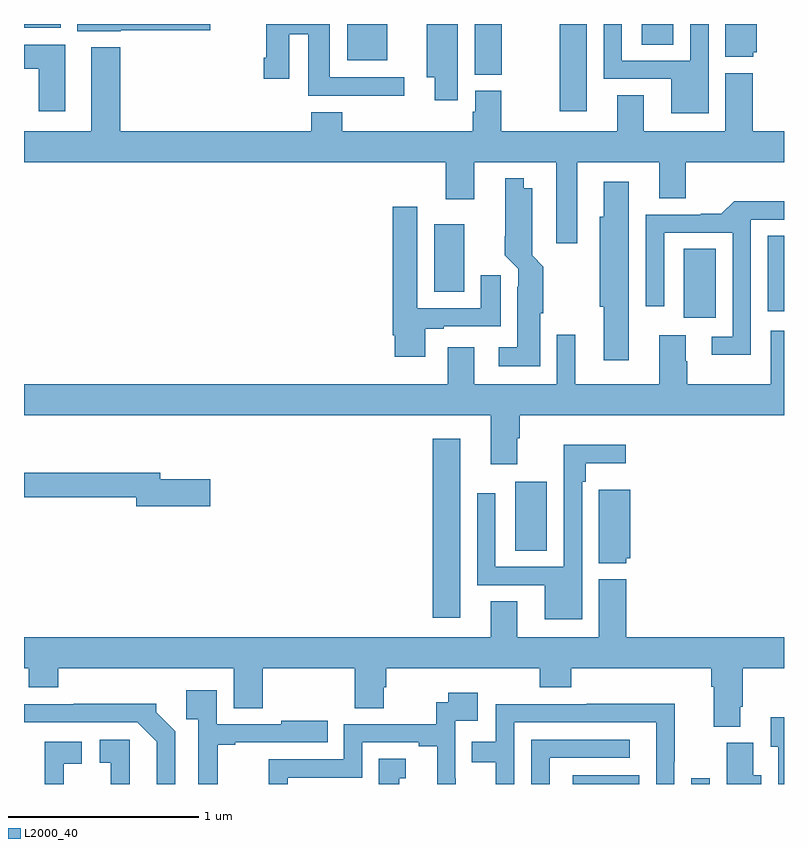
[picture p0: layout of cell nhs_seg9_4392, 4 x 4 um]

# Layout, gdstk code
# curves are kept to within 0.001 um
import gdstk
lib = gdstk.Library(unit=1e-6, precision=1e-09)
def R(c, l, rs):  # rectangles x0, y0, x1, y1
    for r in rs: c.add(gdstk.rectangle(r[:2], r[2:], *l))
def P(c, l, *ps):  # polygons
    for p in ps: c.add(gdstk.Polygon(p, *l))
L2000_40 = (2000, 40)

nhs_seg9_4392 = lib.new_cell('nhs_seg9_4392')
R(nhs_seg9_4392, L2000_40, [(365.889,1174.5,366.238,1174.546), (366.513,1174.5,366.609,1174.531), (365.15,1175.376,365.296,1176.316), (365.585,1175.728,365.752,1176.091), (366.473,1176.954,366.64,1177.316), (366.914,1176.987,367,1177.385), (365.159,1177.09,365.317,1177.447), (365.821,1178.04,365.962,1178.5), (365.372,1178.233,365.514,1178.5), (364.7,1178.309,364.912,1178.5), (366.251,1178.392,366.418,1178.5), (363,1178.48,363.193,1178.5)])
P(nhs_seg9_4392, L2000_40, [(365.284,1178.5),(364.997,1178.5),(364.997,1178.498),(365.12,1178.498),(365.12,1178.219),(365.162,1178.219),(365.162,1178.1),(365.284,1178.1)],
  [(366.603,1178.5),(366.507,1178.5),(366.507,1178.307),(366.147,1178.307),(366.147,1178.5),(366.051,1178.5),(366.051,1178.211),(366.407,1178.211),(366.407,1178.03),(366.603,1178.03)],
  [(363.51,1178.468),(363.979,1178.468),(363.979,1178.5),(363.281,1178.5),(363.281,1178.462),(363.51,1178.462)],
  [(366.837,1178.352),(366.856,1178.352),(366.856,1178.5),(366.692,1178.5),(366.692,1178.327),(366.837,1178.327)],
  [(365.002,1178.22),(364.609,1178.22),(364.609,1178.5),(364.274,1178.5),(364.274,1178.323),(364.262,1178.323),(364.262,1178.211),(364.396,1178.211),(364.396,1178.447),(364.496,1178.447),(364.496,1178.123),(365.002,1178.123)],
  [(363.217,1178.392),(363,1178.392),(363,1178.264),(363.077,1178.264),(363.077,1178.04),(363.217,1178.04)],
  [(365.911,1177.772),(366.344,1177.772),(366.344,1177.582),(366.484,1177.582),(366.484,1177.772),(367,1177.772),(367,1177.936),(366.836,1177.936),(366.836,1178.242),(366.692,1178.242),(366.692,1177.936),(366.262,1177.936),(366.262,1178.126),(366.122,1178.126),(366.122,1177.936),(365.511,1177.936),(365.511,1178.148),(365.375,1178.148),(365.375,1178.037),(365.363,1178.037),(365.363,1177.936),(364.676,1177.936),(364.676,1178.035),(364.511,1178.035),(364.511,1177.936),(363.506,1177.936),(363.506,1178.377),(363.353,1178.377),(363.353,1177.936),(363,1177.936),(363,1177.772),(365.219,1177.772),(365.219,1177.578),(365.371,1177.578),(365.371,1177.772),(365.801,1177.772),(365.801,1177.347),(365.911,1177.347)],
  [(365.716,1176.978),(365.734,1176.978),(365.734,1177.223),(365.675,1177.282),(365.674,1177.636),(365.629,1177.636),(365.629,1177.687),(365.532,1177.687),(365.531,1177.282),(365.601,1177.212),(365.601,1177.118),(365.597,1177.118),(365.597,1176.799),(365.499,1176.799),(365.499,1176.698),(365.716,1176.698)],
  [(366.184,1177.669),(366.05,1177.669),(366.05,1177.485),(366.029,1177.485),(366.029,1177.013),(366.05,1177.013),(366.05,1176.729),(366.184,1176.729)],
  [(366.825,1177.47),(367,1177.47),(367,1177.568),(366.737,1177.568),(366.671,1177.502),(366.563,1177.502),(366.563,1177.497),(366.273,1177.497),(366.273,1177.014),(366.369,1177.014),(366.369,1177.401),(366.729,1177.401),(366.729,1176.855),(366.621,1176.855),(366.621,1176.758),(366.825,1176.758)],
  [(365.113,1176.897),(365.209,1176.897),(365.209,1176.909),(365.509,1176.909),(365.509,1177.177),(365.405,1177.177),(365.405,1177.005),(365.071,1177.005),(365.071,1177.537),(364.94,1177.537),(364.94,1176.862),(364.952,1176.862),(364.952,1176.75),(365.113,1176.75)],
  [(365.596,1176.32),(365.609,1176.32),(365.609,1176.44),(367,1176.44),(367,1176.886),(366.929,1176.886),(366.929,1176.604),(366.492,1176.604),(366.492,1176.725),(366.484,1176.725),(366.484,1176.862),(366.344,1176.862),(366.344,1176.604),(365.902,1176.604),(365.902,1176.865),(365.805,1176.865),(365.805,1176.604),(365.371,1176.604),(365.371,1176.799),(365.231,1176.799),(365.231,1176.604),(363,1176.604),(363,1176.44),(365.456,1176.44),(365.456,1176.183),(365.596,1176.183)],
  [(365.937,1176.092),(365.957,1176.092),(365.957,1176.188),(366.166,1176.188),(366.166,1176.286),(365.841,1176.286),(365.841,1175.643),(365.481,1175.643),(365.481,1176.031),(365.385,1176.031),(365.385,1175.547),(365.741,1175.547),(365.741,1175.366),(365.937,1175.366)],
  [(363.979,1176.105),(363.718,1176.105),(363.718,1176.139),(363,1176.139),(363,1176.01),(363.59,1176.01),(363.59,1175.963),(363.979,1175.963)],
  [(366.171,1175.688),(366.19,1175.688),(366.19,1176.049),(366.026,1176.049),(366.026,1175.663),(366.171,1175.663)],
  [(366.769,1174.906),(366.782,1174.906),(366.782,1175.108),(367,1175.108),(367,1175.272),(366.17,1175.272),(366.17,1175.578),(366.026,1175.578),(366.026,1175.272),(365.596,1175.272),(365.596,1175.462),(365.456,1175.462),(365.456,1175.272),(363,1175.272),(363,1175.108),(363.026,1175.108),(363.026,1175.009),(363.179,1175.009),(363.179,1175.108),(364.103,1175.108),(364.103,1174.9),(364.256,1174.9),(364.256,1175.108),(364.742,1175.108),(364.742,1174.9),(364.894,1174.9),(364.894,1175.01),(364.907,1175.01),(364.907,1175.108),(365.714,1175.108),(365.714,1175.009),(365.879,1175.009),(365.879,1175.108),(366.617,1175.108),(366.617,1175.012),(366.629,1175.012),(366.629,1174.801),(366.769,1174.801)],
  [(364.019,1174.707),(364.111,1174.707),(364.111,1174.719),(364.598,1174.719),(364.598,1174.834),(364.355,1174.834),(364.355,1174.815),(364.014,1174.815),(364.014,1174.993),(363.853,1174.993),(363.853,1174.841),(363.918,1174.841),(363.918,1174.5),(364.019,1174.5)],
  [(364.389,1174.533),(364.779,1174.533),(364.779,1174.719),(365.078,1174.719),(365.078,1174.699),(365.174,1174.699),(365.174,1174.5),(365.273,1174.5),(365.273,1174.529),(365.271,1174.529),(365.271,1174.833),(365.389,1174.833),(365.389,1174.981),(365.233,1174.981),(365.233,1174.929),(365.17,1174.929),(365.17,1174.815),(364.683,1174.815),(364.683,1174.629),(364.288,1174.629),(364.288,1174.5),(364.389,1174.5)],
  [(363.795,1174.778),(363.696,1174.877),(363.696,1174.922),(363.262,1174.922),(363.262,1174.92),(363,1174.92),(363,1174.824),(363.597,1174.824),(363.698,1174.723),(363.698,1174.5),(363.795,1174.5)],
  [(365.58,1174.824),(366.327,1174.824),(366.327,1174.5),(366.423,1174.5),(366.423,1174.618),(366.425,1174.618),(366.425,1174.922),(365.962,1174.922),(365.962,1174.92),(365.484,1174.92),(365.484,1174.722),(365.356,1174.722),(365.356,1174.614),(365.483,1174.614),(365.483,1174.5),(365.58,1174.5)],
  [(367,1174.852),(366.929,1174.852),(366.929,1174.696),(366.969,1174.696),(366.969,1174.5),(367,1174.5)],
  [(365.766,1174.638),(366.187,1174.638),(366.187,1174.734),(365.67,1174.734),(365.67,1174.5),(365.766,1174.5)],
  [(363.556,1174.732),(363.399,1174.732),(363.399,1174.611),(363.457,1174.611),(363.457,1174.5),(363.556,1174.5)],
  [(363.21,1174.606),(363.304,1174.606),(363.304,1174.722),(363.11,1174.722),(363.11,1174.5),(363.21,1174.5)],
  [(366.88,1174.546),(366.838,1174.546),(366.838,1174.716),(366.698,1174.716),(366.698,1174.5),(366.88,1174.5)],
  [(364.975,1174.531),(365.008,1174.531),(365.008,1174.634),(364.868,1174.634),(364.868,1174.5),(364.975,1174.5)])

lib.write_gds('nhs_seg9_4392.gds')
